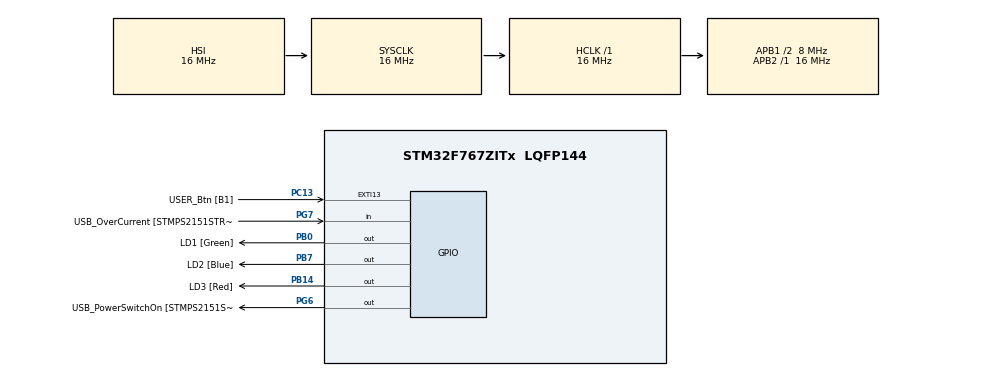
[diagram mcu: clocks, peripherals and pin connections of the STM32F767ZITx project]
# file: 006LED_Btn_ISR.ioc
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Mcu.Family=STM32F7
Mcu.Name=STM32F767ZITx
Mcu.Package=LQFP144
NVIC.EXTI15_10_IRQn=true\:6\:0\:true\:false\:true\:true\:true\:true
NVIC.PriorityGroup=NVIC_PRIORITYGROUP_4
NVIC.TIM6_DAC_IRQn=true\:15\:0\:false\:false\:true\:false\:true\:true
NVIC.TimeBase=TIM6_DAC_IRQn
NVIC.TimeBaseIP=TIM6
PA1.GPIO_Label=RMII_REF_CLK [LAN8742A-CZ-TR_REFCLK0]
PA1.Signal=ETH_REF_CLK
PA10.GPIO_Label=USB_ID
PA10.Signal=USB_OTG_FS_ID
PA11.GPIO_Label=USB_DM
PA11.Signal=USB_OTG_FS_DM
PA12.GPIO_Label=USB_DP
PA12.Signal=USB_OTG_FS_DP
PA13.GPIO_Label=TMS
PA13.Signal=SYS_JTMS-SWDIO
PA14.GPIO_Label=TCK
PA14.Signal=SYS_JTCK-SWCLK
PA2.GPIO_Label=RMII_MDIO [LAN8742A-CZ-TR_MDIO]
PA2.Signal=ETH_MDIO
PA7.GPIO_Label=RMII_CRS_DV [LAN8742A-CZ-TR_CRS_DV]
PA7.Signal=ETH_CRS_DV
PA8.GPIO_Label=USB_SOF [TP1]
PA8.Signal=USB_OTG_FS_SOF
PA9.GPIO_Label=USB_VBUS
PA9.Signal=USB_OTG_FS_VBUS
PB0.GPIO_Label=LD1 [Green]
PB0.Signal=GPIO_Output
PB13.GPIO_Label=RMII_TXD1 [LAN8742A-CZ-TR_TXD1]
PB13.Signal=ETH_TXD1
PB14.GPIO_Label=LD3 [Red]
PB14.Signal=GPIO_Output
PB3.GPIO_Label=SW0
PB3.Signal=SYS_JTDO-SWO
PB7.GPIO_Label=LD2 [Blue]
PB7.Signal=GPIO_Output
PC1.GPIO_Label=RMII_MDC [LAN8742A-CZ-TR_MDC]
PC1.Signal=ETH_MDC
PC13.GPIO_Label=USER_Btn [B1]
PC13.GPIO_ModeDefaultEXTI=GPIO_MODE_IT_RISING
PC13.Signal=GPXTI13
PC14/OSC32_IN.Signal=RCC_OSC32_IN
PC15/OSC32_OUT.Signal=RCC_OSC32_OUT
PC4.GPIO_Label=RMII_RXD0 [LAN8742A-CZ-TR_RXD0]
PC4.Signal=ETH_RXD0
PC5.GPIO_Label=RMII_RXD1 [LAN8742A-CZ-TR_RXD1]
PC5.Signal=ETH_RXD1
PD8.GPIO_Label=STLK_RX [STM32F103CBT6_PA3]
PD8.Signal=USART3_TX
PD9.GPIO_Label=STLK_TX [STM32F103CBT6_PA2]
PD9.Signal=USART3_RX
PG11.GPIO_Label=RMII_TX_EN [LAN8742A-CZ-TR_TXEN]
PG11.Signal=ETH_TX_EN
PG13.GPIO_Label=RMII_TXD0 [LAN8742A-CZ-TR_TXD0]
PG13.Signal=ETH_TXD0
PG6.GPIO_Label=USB_PowerSwitchOn [STMPS2151STR_EN]
PG6.Signal=GPIO_Output
PG7.GPIO_Label=USB_OverCurrent [STMPS2151STR_FAULT]
PG7.Signal=GPIO_Input
PH0/OSC_IN.GPIO_Label=MCO [STM32F103CBT6_PA8]
PH0/OSC_IN.Signal=RCC_OSC_IN
PH1/OSC_OUT.Signal=RCC_OSC_OUT
ProjectManager.HeapSize=0x200
ProjectManager.StackSize=0x400
ProjectManager.TargetToolchain=STM32CubeIDE
RCC.48MHZClocksFreq_Value=24000000
RCC.AHBFreq_Value=16000000
RCC.APB1CLKDivider=RCC_HCLK_DIV2
RCC.APB1Freq_Value=8000000
RCC.APB1TimFreq_Value=16000000
RCC.APB2Freq_Value=16000000
RCC.APB2TimFreq_Value=16000000
RCC.CortexFreq_Value=16000000
RCC.HCLKFreq_Value=16000000
RCC.HSE_VALUE=16000000
RCC.HSI_VALUE=16000000
RCC.LSE_VALUE=32768
RCC.PLLMUL=RCC_PLL_MUL9
RCC.PRESCALERUSB=RCC_USBCLKSOURCE_PLL_DIV1_5
RCC.SYSCLKFreq_VALUE=16000000
RCC.SYSCLKSourceVirtual=RCC_SYSCLKSOURCE_PLLCLK
RCC.USBFreq_Value=96000000
RCC.VCOOutputFreq_Value=192000000
VP_SYS_VS_tim6.Mode=TIM6
board=NUCLEO-F767ZI

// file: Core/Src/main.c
/* USER CODE BEGIN Header */
/**
  ******************************************************************************
  * @file           : main.c
  * @brief          : Main program body
  ******************************************************************************
  * @attention
  *
  * Copyright (c) 2024 STMicroelectronics.
  * All rights reserved.
  *
  * This software is licensed under terms that can be found in the LICENSE file
  * in the root directory of this software component.
  * If no LICENSE file comes with this software, it is provided AS-IS.
  *
  ******************************************************************************
  */
/* USER CODE END Header */
#include "main.h"

/* USER CODE BEGIN Includes */
#include "FreeRTOS.h"
#include "task.h"
#include <stdio.h>
/* USER CODE END Includes */

/* USER CODE BEGIN PV */
#define DWT_CTRL	(*(volatile uint32_t*)0xE0001000)
/* USER CODE END PV */

void SystemClock_Config(void);
static void MX_GPIO_Init(void);
/* USER CODE BEGIN PFP */
//RTOS Task Handler Functions
static void led_green_handler(void* parameters);
static void led_red_handler(void* parameters);
static void led_blue_handler(void* parameters);

// RTOS Task Handles
TaskHandle_t ledgreen_task_handle;
TaskHandle_t ledred_task_handle;
TaskHandle_t ledblue_task_handle;
TaskHandle_t btn_task_handle;

TaskHandle_t volatile next_task_handle = NULL;
/* USER CODE END PFP */

int main(void)
{

  /* MCU Configuration--------------------------------------------------------*/

  /* Reset of all peripherals, Initializes the Flash interface and the Systick. */
  HAL_Init();

  /* USER CODE BEGIN Init */
  BaseType_t status;
  /* USER CODE END Init */

  /* Configure the system clock */
  SystemClock_Config();

  /* Initialize all configured peripherals */
  MX_GPIO_Init();
  /* USER CODE BEGIN 2 */
  // Enable the CYCCNT counter
    CoreDebug->DEMCR |= CoreDebug_DEMCR_TRCENA_Msk;

    DWT->LAR = 0xC5ACCE55;

    DWT->CYCCNT = 0;

    DWT->CTRL |= DWT_CTRL_CYCCNTENA_Msk;

  // Start the SEGGER recorder
  SEGGER_SYSVIEW_Conf();
  SEGGER_SYSVIEW_Start();

  // Create Tasks
  status = xTaskCreate(led_green_handler, "LED_green_task", 200, "Hello World from LED_green_task", 3, &ledgreen_task_handle);
  configASSERT(status == pdPASS);

  // Store the handle of the desired task to execute next
  next_task_handle = ledgreen_task_handle;

  status = xTaskCreate(led_red_handler, "LED_red_task", 200, "Hello World from LED_red_task", 2, &ledred_task_handle);
  configASSERT(status == pdPASS);

  status = xTaskCreate(led_blue_handler, "LED_blue_task", 200, "Hello World from LED_blue_task", 1, &ledblue_task_handle);
  configASSERT(status == pdPASS);

  // Start the freeRTOS scheduler
  vTaskStartScheduler();

  //if the control comes here, then the launch of the scheduler has failed due to insufficient memory in heap
  printf("INSUFFUCIENT MEMORY IN HEAP!\n");
  /* USER CODE END 2 */

  /* Infinite loop */
  while (1)
  {

  }
}

void SystemClock_Config(void)
{
  RCC_OscInitTypeDef RCC_OscInitStruct = {0};
  RCC_ClkInitTypeDef RCC_ClkInitStruct = {0};

  /** Configure the main internal regulator output voltage
  */
  __HAL_RCC_PWR_CLK_ENABLE();
  __HAL_PWR_VOLTAGESCALING_CONFIG(PWR_REGULATOR_VOLTAGE_SCALE3);

  /** Initializes the RCC Oscillators according to the specified parameters
  * in the RCC_OscInitTypeDef structure.
  */
  RCC_OscInitStruct.OscillatorType = RCC_OSCILLATORTYPE_HSI;
  RCC_OscInitStruct.HSIState = RCC_HSI_ON;
  RCC_OscInitStruct.HSICalibrationValue = RCC_HSICALIBRATION_DEFAULT;
  RCC_OscInitStruct.PLL.PLLState = RCC_PLL_NONE;
  if (HAL_RCC_OscConfig(&RCC_OscInitStruct) != HAL_OK)
  {
    Error_Handler();
  }

  /** Initializes the CPU, AHB and APB buses clocks
  */
  RCC_ClkInitStruct.ClockType = RCC_CLOCKTYPE_HCLK|RCC_CLOCKTYPE_SYSCLK
                              |RCC_CLOCKTYPE_PCLK1|RCC_CLOCKTYPE_PCLK2;
  RCC_ClkInitStruct.SYSCLKSource = RCC_SYSCLKSOURCE_HSI;
  RCC_ClkInitStruct.AHBCLKDivider = RCC_SYSCLK_DIV1;
  RCC_ClkInitStruct.APB1CLKDivider = RCC_HCLK_DIV2;
  RCC_ClkInitStruct.APB2CLKDivider = RCC_HCLK_DIV1;

  if (HAL_RCC_ClockConfig(&RCC_ClkInitStruct, FLASH_LATENCY_0) != HAL_OK)
  {
    Error_Handler();
  }
}

static void MX_GPIO_Init(void)
{
  GPIO_InitTypeDef GPIO_InitStruct = {0};

  /* GPIO Ports Clock Enable */
  __HAL_RCC_GPIOC_CLK_ENABLE();
  __HAL_RCC_GPIOH_CLK_ENABLE();
  __HAL_RCC_GPIOA_CLK_ENABLE();
  __HAL_RCC_GPIOB_CLK_ENABLE();
  __HAL_RCC_GPIOD_CLK_ENABLE();
  __HAL_RCC_GPIOG_CLK_ENABLE();

  /*Configure GPIO pin Output Level */
  HAL_GPIO_WritePin(GPIOB, LD1_Pin|LD3_Pin|LD2_Pin, GPIO_PIN_RESET);

  /*Configure GPIO pin Output Level */
  HAL_GPIO_WritePin(USB_PowerSwitchOn_GPIO_Port, USB_PowerSwitchOn_Pin, GPIO_PIN_RESET);

  /*Configure GPIO pin : USER_Btn_Pin */
  GPIO_InitStruct.Pin = USER_Btn_Pin;
  GPIO_InitStruct.Mode = GPIO_MODE_IT_RISING;
  GPIO_InitStruct.Pull = GPIO_NOPULL;
  HAL_GPIO_Init(USER_Btn_GPIO_Port, &GPIO_InitStruct);

  /*Configure GPIO pins : RMII_MDC_Pin RMII_RXD0_Pin RMII_RXD1_Pin */
  GPIO_InitStruct.Pin = RMII_MDC_Pin|RMII_RXD0_Pin|RMII_RXD1_Pin;
  GPIO_InitStruct.Mode = GPIO_MODE_AF_PP;
  GPIO_InitStruct.Pull = GPIO_NOPULL;
  GPIO_InitStruct.Speed = GPIO_SPEED_FREQ_VERY_HIGH;
  GPIO_InitStruct.Alternate = GPIO_AF11_ETH;
  HAL_GPIO_Init(GPIOC, &GPIO_InitStruct);

  /*Configure GPIO pins : RMII_REF_CLK_Pin RMII_MDIO_Pin RMII_CRS_DV_Pin */
  GPIO_InitStruct.Pin = RMII_REF_CLK_Pin|RMII_MDIO_Pin|RMII_CRS_DV_Pin;
  GPIO_InitStruct.Mode = GPIO_MODE_AF_PP;
  GPIO_InitStruct.Pull = GPIO_NOPULL;
  GPIO_InitStruct.Speed = GPIO_SPEED_FREQ_VERY_HIGH;
  GPIO_InitStruct.Alternate = GPIO_AF11_ETH;
  HAL_GPIO_Init(GPIOA, &GPIO_InitStruct);

  /*Configure GPIO pins : LD1_Pin LD3_Pin LD2_Pin */
  GPIO_InitStruct.Pin = LD1_Pin|LD3_Pin|LD2_Pin;
  GPIO_InitStruct.Mode = GPIO_MODE_OUTPUT_PP;
  GPIO_InitStruct.Pull = GPIO_NOPULL;
  GPIO_InitStruct.Speed = GPIO_SPEED_FREQ_LOW;
  HAL_GPIO_Init(GPIOB, &GPIO_InitStruct);

  /*Configure GPIO pin : RMII_TXD1_Pin */
  GPIO_InitStruct.Pin = RMII_TXD1_Pin;
  GPIO_InitStruct.Mode = GPIO_MODE_AF_PP;
  GPIO_InitStruct.Pull = GPIO_NOPULL;
  GPIO_InitStruct.Speed = GPIO_SPEED_FREQ_VERY_HIGH;
  GPIO_InitStruct.Alternate = GPIO_AF11_ETH;
  HAL_GPIO_Init(RMII_TXD1_GPIO_Port, &GPIO_InitStruct);

  /*Configure GPIO pins : STLK_RX_Pin STLK_TX_Pin */
  GPIO_InitStruct.Pin = STLK_RX_Pin|STLK_TX_Pin;
  GPIO_InitStruct.Mode = GPIO_MODE_AF_PP;
  GPIO_InitStruct.Pull = GPIO_NOPULL;
  GPIO_InitStruct.Speed = GPIO_SPEED_FREQ_VERY_HIGH;
  GPIO_InitStruct.Alternate = GPIO_AF7_USART3;
  HAL_GPIO_Init(GPIOD, &GPIO_InitStruct);

  /*Configure GPIO pin : USB_PowerSwitchOn_Pin */
  GPIO_InitStruct.Pin = USB_PowerSwitchOn_Pin;
  GPIO_InitStruct.Mode = GPIO_MODE_OUTPUT_PP;
  GPIO_InitStruct.Pull = GPIO_NOPULL;
  GPIO_InitStruct.Speed = GPIO_SPEED_FREQ_LOW;
  HAL_GPIO_Init(USB_PowerSwitchOn_GPIO_Port, &GPIO_InitStruct);

  /*Configure GPIO pin : USB_OverCurrent_Pin */
  GPIO_InitStruct.Pin = USB_OverCurrent_Pin;
  GPIO_InitStruct.Mode = GPIO_MODE_INPUT;
  GPIO_InitStruct.Pull = GPIO_NOPULL;
  HAL_GPIO_Init(USB_OverCurrent_GPIO_Port, &GPIO_InitStruct);

  /*Configure GPIO pins : USB_SOF_Pin USB_ID_Pin USB_DM_Pin USB_DP_Pin */
  GPIO_InitStruct.Pin = USB_SOF_Pin|USB_ID_Pin|USB_DM_Pin|USB_DP_Pin;
  GPIO_InitStruct.Mode = GPIO_MODE_AF_PP;
  GPIO_InitStruct.Pull = GPIO_NOPULL;
  GPIO_InitStruct.Speed = GPIO_SPEED_FREQ_VERY_HIGH;
  GPIO_InitStruct.Alternate = GPIO_AF10_OTG_FS;
  HAL_GPIO_Init(GPIOA, &GPIO_InitStruct);

  /*Configure GPIO pin : USB_VBUS_Pin */
  GPIO_InitStruct.Pin = USB_VBUS_Pin;
  GPIO_InitStruct.Mode = GPIO_MODE_INPUT;
  GPIO_InitStruct.Pull = GPIO_NOPULL;
  HAL_GPIO_Init(USB_VBUS_GPIO_Port, &GPIO_InitStruct);

  /*Configure GPIO pins : RMII_TX_EN_Pin RMII_TXD0_Pin */
  GPIO_InitStruct.Pin = RMII_TX_EN_Pin|RMII_TXD0_Pin;
  GPIO_InitStruct.Mode = GPIO_MODE_AF_PP;
  GPIO_InitStruct.Pull = GPIO_NOPULL;
  GPIO_InitStruct.Speed = GPIO_SPEED_FREQ_VERY_HIGH;
  GPIO_InitStruct.Alternate = GPIO_AF11_ETH;
  HAL_GPIO_Init(GPIOG, &GPIO_InitStruct);

  /* EXTI interrupt init*/
  HAL_NVIC_SetPriority(EXTI15_10_IRQn, 6, 0);
  HAL_NVIC_EnableIRQ(EXTI15_10_IRQn);

}

/* USER CODE BEGIN 4 */
void button_interrupt_handler(void)
{
	BaseType_t pxHigherPriorityTaskWoken;
	pxHigherPriorityTaskWoken = pdFALSE;

	//Helps SEGGER system view trace the entry of an interrupt
	traceISR_ENTER();
	xTaskNotifyFromISR(next_task_handle, 0, eNoAction, &pxHigherPriorityTaskWoken);
	// Once the ISR exits, the below macro makes the higher priority task which got unblocked to resume on the CPU
	portYIELD_FROM_ISR(pxHigherPriorityTaskWoken);
	traceISR_EXIT();
}

static void led_green_handler(void* parameters)
{
	char msg[100];
	BaseType_t status;
	while (1)
	{
		// Print the tasks message
		snprintf(msg, 100, "%s\n", (char*)parameters);
		SEGGER_SYSVIEW_PrintfTarget(msg);

		// Toggle the LED
		HAL_GPIO_TogglePin(GPIOB, LED_GREEN_PIN);

		// Wait for a task notification with a timeout of 1s
		status = xTaskNotifyWait(0,0, NULL, pdMS_TO_TICKS(1000));

		if (status == pdTRUE) //Check the status of the notification
		{
			/*
			 * Modifying shared global data between multiple tasks can cause
			 * the data to be corrupted if the task gets pre-empted for example.
			 * To avoid this we can suspend the scheduler, then modify the variable,
			 * and then resume the scheduler.
			 */
			portENTER_CRITICAL();
			next_task_handle = ledred_task_handle;

			// Set the LED state to ON (1)
			HAL_GPIO_WritePin(GPIOB, LED_GREEN_PIN, 1);

			SEGGER_SYSVIEW_PrintfTarget("Delete Green Task");
			portEXIT_CRITICAL();
			vTaskDelete(NULL); //NULL for self delete
		}
	}
}

static void led_red_handler(void* parameters)
{
	char msg[100];
	BaseType_t status;
	while (1)
	{
		snprintf(msg, 100, "%s\n", (char*)parameters);
		SEGGER_SYSVIEW_PrintfTarget(msg);

		HAL_GPIO_TogglePin(GPIOB, LED_RED_PIN);
		status = xTaskNotifyWait(0,0, NULL, pdMS_TO_TICKS(800));
		if (status == pdTRUE)
		{
			portENTER_CRITICAL();
			next_task_handle = ledblue_task_handle;
			HAL_GPIO_WritePin(GPIOB, LED_RED_PIN, 1);
			SEGGER_SYSVIEW_PrintfTarget("Delete Red Task");
			portEXIT_CRITICAL();
			vTaskDelete(NULL); //NULL for self delete
		}
	}
}

static void led_blue_handler(void* parameters)
{
	char msg[100];
	BaseType_t status;
	while (1)
	{
		snprintf(msg, 100, "%s\n", (char*)parameters);
		SEGGER_SYSVIEW_PrintfTarget(msg);

		HAL_GPIO_TogglePin(GPIOB, LED_BLUE_PIN);
		status = xTaskNotifyWait(0,0, NULL, pdMS_TO_TICKS(400));
		if (status == pdTRUE)
		{
			portENTER_CRITICAL();
			next_task_handle = NULL;
			HAL_GPIO_WritePin(GPIOB, LED_BLUE_PIN, 1);
			SEGGER_SYSVIEW_PrintfTarget("Delete Blue Task");
			portEXIT_CRITICAL();
			vTaskDelete(NULL); //NULL for self delete
			vTaskDelete(btn_task_handle);
		}
	}
}
/* USER CODE END 4 */

void HAL_TIM_PeriodElapsedCallback(TIM_HandleTypeDef *htim)
{
  if (htim->Instance == TIM6) {
    HAL_IncTick();
  }
}

void Error_Handler(void)
{
  __disable_irq();
  while (1)
  {
  }
}
